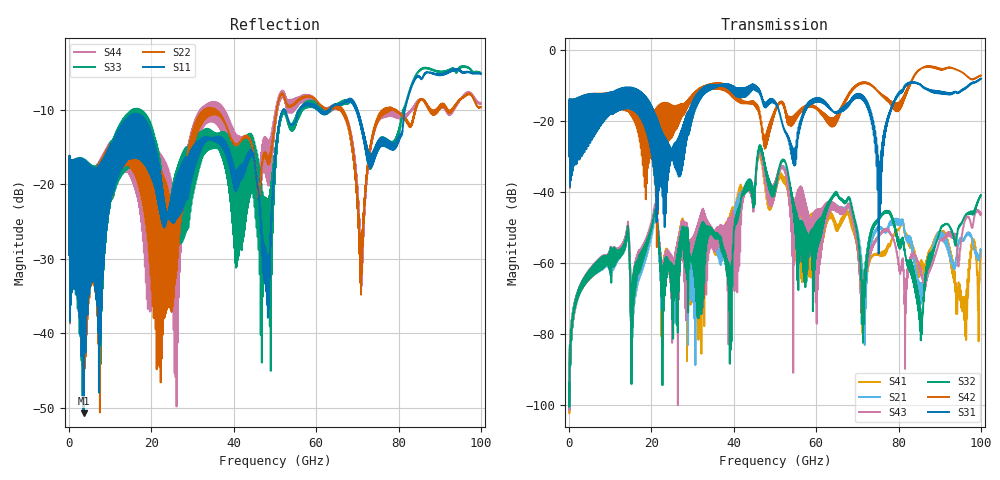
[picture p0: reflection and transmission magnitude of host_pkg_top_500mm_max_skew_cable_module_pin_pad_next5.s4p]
# Hz S RI R 50
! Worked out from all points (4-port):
!   10000 points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, 10 MHz to 100 GHz, reference 50 ohm
!   strongest paths, dB at 10 MHz, 25.01 GHz, 50.01 GHz, 75.01 GHz, 100 GHz:
!     S31: -29.9, -29.0, -14.7, -30.8, -8.1
!     S42: -29.9, -15.8, -16.8, -11.6, -7.2
!     S32: -96.7, -73.4, -38.6, -48.2, -40.8
!     S43: -96.8, -75.7, -36.9, -52.7, -45.9
!     S21: -96.8, -66.5, -39.8, -50.1, -56.3
!     S41: -96.9, -65.5, -39.1, -57.8, -56.7
!   lowest |S11| = -50.7 dB at 3.51 GHz (marker M1), VSWR 1.01, Z = 50.1 + j0.274 ohm
!   |S11| at or under -10 dB: start of sweep to 51.94 GHz; 52.34 GHz to 56.03 GHz (3.688 GHz wide, 6.81 % of centre); 69.94 GHz to 81.53 GHz (11.59 GHz wide, 15.3 % of centre)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
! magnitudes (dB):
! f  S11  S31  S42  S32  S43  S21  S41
! 10 MHz  -29.5  -29.9  -29.9  -96.7  -96.8  -96.8  -96.9
! 3.51 GHz  -50.7  -21.8  -22.8  -64.9  -64.7  -65.0  -65.1
! 39.15 GHz  -16.6  -11.1  -10.9  -61.9  -52.1  -53.8  -49.1
! 46.3 GHz  -24.0  -12.1  -18.7  -26.8  -28.6  -28.2  -30.1
! 75.36 GHz  -14.9  -34.2  -12.1  -47.1  -52.1  -50.0  -57.2
! 85.44 GHz  -5.8  -10.0  -5.2  -79.7  -63.5  -66.4  -61.6
! 100 GHz  -5.2  -8.1  -7.2  -40.8  -45.9  -56.3  -56.7
